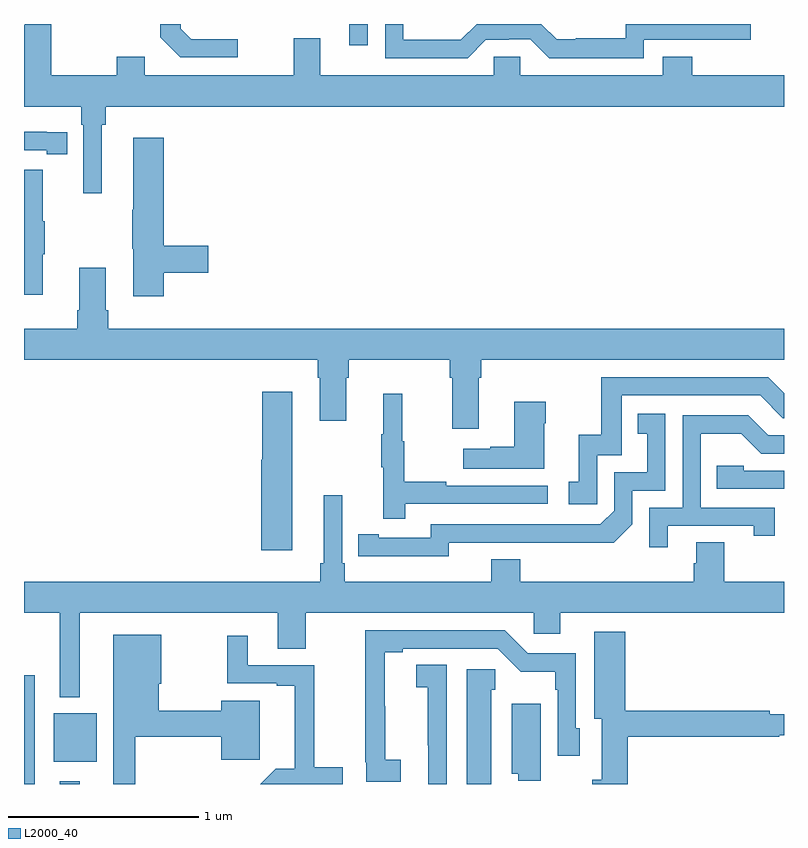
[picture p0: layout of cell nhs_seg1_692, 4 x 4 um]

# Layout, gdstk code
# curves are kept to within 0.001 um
import gdstk
lib = gdstk.Library(unit=1e-6, precision=1e-09)
def R(c, l, rs):  # rectangles x0, y0, x1, y1
    for r in rs: c.add(gdstk.rectangle(r[:2], r[2:], *l))
def P(c, l, *ps):  # polygons
    for p in ps: c.add(gdstk.Polygon(p, *l))
L2000_40 = (2000, 40)

nhs_seg1_692 = lib.new_cell('nhs_seg1_692')
R(nhs_seg1_692, L2000_40, [(149,516.199,149.056,516.772), (149.189,516.199,149.293,516.214), (149.156,516.317,149.383,516.571), (150.713,520.086,150.809,520.199), (149.279,520.197,149.428,520.199)])
P(nhs_seg1_692, L2000_40, [(152.262,520.116),(152.824,520.116),(152.824,520.199),(152.166,520.199),(152.166,520.123),(151.903,520.123),(151.903,520.119),(151.803,520.119),(151.723,520.199),(151.382,520.199),(151.299,520.116),(150.996,520.116),(150.996,520.199),(150.9,520.199),(150.9,520.02),(151.335,520.02),(151.431,520.116),(151.55,520.116),(151.55,520.119),(151.665,520.119),(151.765,520.019),(152.262,520.019)],
  [(150.124,520.119),(149.88,520.119),(149.826,520.173),(149.826,520.199),(149.718,520.199),(149.718,520.129),(149.823,520.023),(150.124,520.023)],
  [(149.003,520.199),(149.003,520.193),(149,520.193),(149,519.764),(149.3,519.764),(149.3,519.668),(149.313,519.668),(149.313,519.309),(149.41,519.309),(149.41,519.668),(149.429,519.668),(149.429,519.764),(153,519.764),(153,519.928),(152.516,519.928),(152.516,520.027),(152.363,520.027),(152.363,519.928),(151.611,519.928),(151.611,520.026),(151.473,520.026),(151.473,519.928),(150.559,519.928),(150.559,520.123),(150.419,520.123),(150.419,519.928),(149.635,519.928),(149.635,520.027),(149.488,520.027),(149.488,519.928),(149.143,519.928),(149.143,520.199)],
  [(149.228,519.63),(149.12,519.63),(149.12,519.631),(149,519.631),(149,519.534),(149.12,519.534),(149.12,519.514),(149.228,519.514)],
  [(149.735,518.89),(149.971,518.89),(149.971,519.032),(149.735,519.032),(149.735,519.601),(149.576,519.601),(149.576,519.221),(149.569,519.221),(149.569,519.015),(149.576,519.015),(149.576,518.766),(149.735,518.766)],
  [(149.099,518.987),(149.11,518.987),(149.11,519.161),(149.099,519.161),(149.099,519.433),(149,519.433),(149,518.775),(149.099,518.775)],
  [(151.393,518.336),(151.406,518.336),(151.406,518.432),(153,518.432),(153,518.596),(149.444,518.596),(149.444,518.692),(149.431,518.692),(149.431,518.917),(149.291,518.917),(149.291,518.692),(149.279,518.692),(149.279,518.596),(149,518.596),(149,518.432),(150.545,518.432),(150.545,518.336),(150.557,518.336),(150.557,518.112),(150.697,518.112),(150.697,518.336),(150.71,518.336),(150.71,518.432),(151.241,518.432),(151.241,518.336),(151.253,518.336),(151.253,518.07),(151.393,518.07)],
  [(152.016,517.929),(152.145,517.929),(152.145,518.244),(152.874,518.244),(152.994,518.124),(153,518.124),(153,518.256),(152.916,518.34),(152.037,518.34),(152.037,518.038),(151.919,518.038),(151.919,517.791),(151.866,517.791),(151.866,517.671),(152.016,517.671)],
  [(150.412,518.263),(150.254,518.263),(150.254,517.905),(150.248,517.905),(150.248,517.428),(150.412,517.428)],
  [(151.007,517.674),(151.756,517.674),(151.756,517.77),(151.223,517.77),(151.223,517.79),(151,517.79),(151,518.004),(150.992,518.004),(150.992,518.254),(150.89,518.254),(150.89,518.041),(150.879,518.041),(150.879,517.867),(150.89,517.867),(150.89,517.596),(151.007,517.596)],
  [(151.738,518.099),(151.746,518.099),(151.746,518.212),(151.58,518.212),(151.58,517.973),(151.454,517.973),(151.454,517.963),(151.311,517.963),(151.311,517.859),(151.738,517.859)],
  [(151.236,517.47),(152.104,517.469),(152.202,517.566),(152.202,517.743),(152.376,517.743),(152.376,518.149),(152.23,518.149),(152.23,518.043),(152.279,518.043),(152.279,517.839),(152.106,517.839),(152.106,517.638),(152.034,517.566),(151.14,517.566),(151.14,517.494),(150.868,517.494),(150.868,517.514),(150.76,517.514),(150.76,517.398),(151.236,517.397)],
  [(152.389,517.557),(152.84,517.557),(152.84,517.506),(152.951,517.506),(152.951,517.653),(152.562,517.653),(152.562,518.042),(152.776,518.042),(152.88,517.938),(153,517.938),(153,518.034),(152.917,518.034),(152.812,518.139),(152.466,518.139),(152.466,517.653),(152.292,517.653),(152.292,517.446),(152.389,517.446)],
  [(153,517.848),(152.787,517.848),(152.787,517.875),(152.647,517.875),(152.647,517.752),(153,517.752)],
  [(149.293,517.1),(150.335,517.1),(150.335,516.91),(150.483,516.91),(150.483,517.1),(151.683,517.1),(151.683,516.99),(151.822,516.99),(151.822,517.1),(153,517.1),(153,517.264),(152.685,517.264),(152.685,517.472),(152.537,517.472),(152.537,517.362),(152.525,517.362),(152.525,517.264),(151.613,517.264),(151.613,517.381),(151.46,517.381),(151.46,517.264),(150.689,517.264),(150.689,517.36),(150.675,517.36),(150.675,517.72),(150.578,517.72),(150.578,517.36),(150.559,517.36),(150.559,517.264),(149,517.264),(149,517.1),(149.189,517.1),(149.189,516.656),(149.293,516.656)],
  [(150.982,516.326),(150.9,516.326),(150.898,516.892),(150.994,516.892),(150.994,516.912),(151.494,516.912),(151.615,516.791),(151.797,516.791),(151.797,516.695),(151.809,516.695),(151.809,516.347),(151.926,516.347),(151.926,516.492),(151.905,516.492),(151.905,516.888),(151.65,516.888),(151.53,517.008),(150.796,517.008),(150.796,516.313),(150.802,516.313),(150.802,516.211),(150.982,516.211)],
  [(152.177,516.448),(152.975,516.448),(152.975,516.456),(153,516.456),(153,516.565),(152.924,516.565),(152.924,516.584),(152.164,516.584),(152.164,517),(152,517),(152,516.542),(152.042,516.542),(152.042,516.222),(151.992,516.222),(151.992,516.199),(152.177,516.199)],
  [(149.585,516.448),(150.038,516.448),(150.038,516.327),(150.241,516.327),(150.241,516.637),(150.038,516.637),(150.038,516.584),(149.71,516.584),(149.71,516.726),(149.722,516.726),(149.722,516.985),(149.471,516.985),(149.471,516.199),(149.585,516.199)],
  [(150.678,516.287),(150.527,516.287),(150.527,516.825),(150.178,516.825),(150.178,516.979),(150.069,516.979),(150.069,516.729),(150.329,516.729),(150.329,516.717),(150.425,516.717),(150.425,516.28),(150.325,516.28),(150.244,516.199),(150.678,516.199)],
  [(151.224,516.827),(151.065,516.827),(151.065,516.707),(151.126,516.707),(151.126,516.403),(151.127,516.403),(151.127,516.199),(151.224,516.199)],
  [(151.459,516.696),(151.481,516.696),(151.481,516.802),(151.331,516.802),(151.331,516.199),(151.459,516.199)],
  [(151.72,516.621),(151.568,516.621),(151.568,516.254),(151.6,516.254),(151.6,516.217),(151.72,516.217)])

lib.write_gds('nhs_seg1_692.gds')
